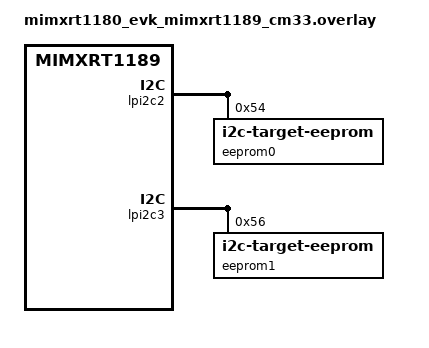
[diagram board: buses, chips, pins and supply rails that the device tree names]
/*
 * Copyright 2024 NXP
 *
 * SPDX-License-Identifier: Apache-2.0
 */

/* To test this sample, connect J41.12 <-> J44.20 and J41.10 <-> J44.18 */

&lpi2c2 {
	status = "okay";
	eeprom0: eeprom@54 {
		compatible = "zephyr,i2c-target-eeprom";
		reg = <0x54>;
		size = <256>;
	};
};

&lpi2c3 {
	status = "okay";
	eeprom1: eeprom@56 {
		compatible = "zephyr,i2c-target-eeprom";
		reg = <0x56>;
		size = <256>;
	};
};
